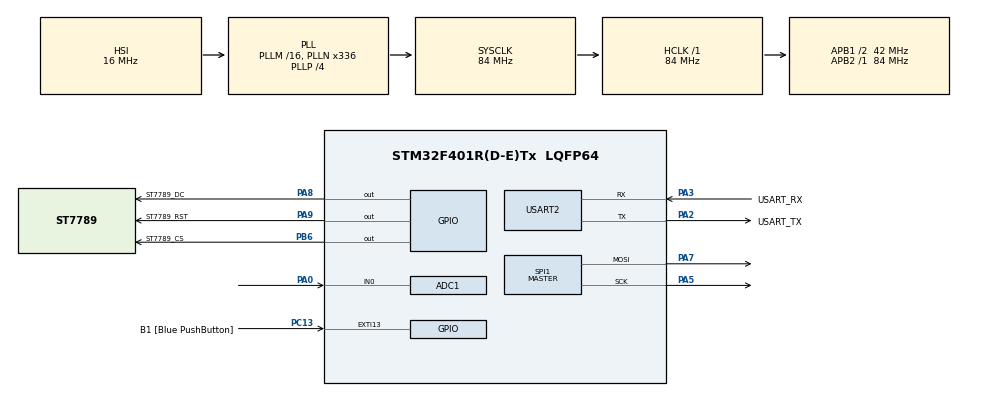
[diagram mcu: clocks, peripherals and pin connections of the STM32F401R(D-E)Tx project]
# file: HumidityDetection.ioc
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ADC1.Channel-2\#ChannelRegularConversion=ADC_CHANNEL_0
ADC1.ContinuousConvMode=ENABLE
ADC1.DMAContinuousRequests=ENABLE
ADC1.NbrOfConversion=1
ADC1.NbrOfConversionFlag=1
ADC1.Rank-2\#ChannelRegularConversion=1
ADC1.SamplingTime-2\#ChannelRegularConversion=ADC_SAMPLETIME_480CYCLES
ADC1.master=1
Dma.ADC1.0.Direction=DMA_PERIPH_TO_MEMORY
Dma.ADC1.0.FIFOMode=DMA_FIFOMODE_DISABLE
Dma.ADC1.0.Instance=DMA2_Stream0
Dma.ADC1.0.MemDataAlignment=DMA_MDATAALIGN_HALFWORD
Dma.ADC1.0.MemInc=DMA_MINC_ENABLE
Dma.ADC1.0.Mode=DMA_CIRCULAR
Dma.ADC1.0.PeriphDataAlignment=DMA_PDATAALIGN_HALFWORD
Dma.ADC1.0.PeriphInc=DMA_PINC_DISABLE
Dma.ADC1.0.Priority=DMA_PRIORITY_LOW
Dma.Request0=ADC1
Mcu.Family=STM32F4
Mcu.Name=STM32F401R(D-E)Tx
Mcu.Package=LQFP64
NVIC.DMA2_Stream0_IRQn=true\:0\:0\:false\:false\:true\:false\:true
NVIC.PriorityGroup=NVIC_PRIORITYGROUP_0
NVIC.TIM1_TRG_COM_TIM11_IRQn=true\:0\:0\:true\:false\:true\:true\:true
NVIC.USART2_IRQn=true\:0\:0\:false\:false\:true\:true\:true
PA0-WKUP.Signal=ADCx_IN0
PA13.GPIO_Label=TMS
PA13.Mode=Serial_Wire
PA13.Signal=SYS_JTMS-SWDIO
PA14.GPIO_Label=TCK
PA14.Mode=Serial_Wire
PA14.Signal=SYS_JTCK-SWCLK
PA2.GPIO_Label=USART_TX
PA2.GPIO_Mode=GPIO_MODE_AF_PP
PA2.GPIO_PuPd=GPIO_NOPULL
PA2.GPIO_Speed=GPIO_SPEED_FREQ_LOW
PA2.Mode=Asynchronous
PA2.Signal=USART2_TX
PA3.GPIO_Label=USART_RX
PA3.GPIO_Mode=GPIO_MODE_AF_PP
PA3.GPIO_PuPd=GPIO_NOPULL
PA3.GPIO_Speed=GPIO_SPEED_FREQ_LOW
PA3.Mode=Asynchronous
PA3.Signal=USART2_RX
PA5.Mode=TX_Only_Simplex_Unidirect_Master
PA5.Signal=SPI1_SCK
PA7.Mode=TX_Only_Simplex_Unidirect_Master
PA7.Signal=SPI1_MOSI
PA8.GPIO_Label=ST7789_DC
PA8.Signal=GPIO_Output
PA9.GPIO_Label=ST7789_RST
PA9.Signal=GPIO_Output
PB3.GPIO_Label=SWO
PB3.Signal=SYS_JTDO-SWO
PB6.GPIO_Label=ST7789_CS
PB6.Signal=GPIO_Output
PC13-ANTI_TAMP.GPIO_Label=B1 [Blue PushButton]
PC13-ANTI_TAMP.GPIO_ModeDefaultEXTI=GPIO_MODE_IT_FALLING
PC13-ANTI_TAMP.GPIO_PuPd=GPIO_NOPULL
PC13-ANTI_TAMP.Signal=GPXTI13
PC14-OSC32_IN.Mode=LSE-External-Oscillator
PC14-OSC32_IN.Signal=RCC_OSC32_IN
PC15-OSC32_OUT.Mode=LSE-External-Oscillator
PC15-OSC32_OUT.Signal=RCC_OSC32_OUT
PH0\ -\ OSC_IN.Mode=HSE-External-Clock-Source
PH0\ -\ OSC_IN.Signal=RCC_OSC_IN
PH1\ -\ OSC_OUT.Mode=HSE-External-Clock-Source
PH1\ -\ OSC_OUT.Signal=RCC_OSC_OUT
ProjectManager.HeapSize=0x200
ProjectManager.StackSize=0x400
ProjectManager.TargetToolchain=STM32CubeIDE
RCC.48MHZClocksFreq_Value=48000000
RCC.AHBFreq_Value=84000000
RCC.APB1CLKDivider=RCC_HCLK_DIV2
RCC.APB1Freq_Value=42000000
RCC.APB1TimFreq_Value=84000000
RCC.APB2Freq_Value=84000000
RCC.APB2TimFreq_Value=84000000
RCC.CortexFreq_Value=84000000
RCC.HCLKFreq_Value=84000000
RCC.HSE_VALUE=8000000
RCC.HSI_VALUE=16000000
RCC.PLLN=336
RCC.PLLP=RCC_PLLP_DIV4
RCC.PLLQ=7
RCC.SYSCLKFreq_VALUE=84000000
RCC.SYSCLKSource=RCC_SYSCLKSOURCE_PLLCLK
RCC.VCOOutputFreq_Value=336000000
SH.ADCx_IN0.0=ADC1_IN0,IN0
SPI1.Direction=SPI_DIRECTION_2LINES
SPI1.Mode=SPI_MODE_MASTER
SPI1.VirtualType=VM_MASTER
TIM11.AutoReloadPreload=TIM_AUTORELOAD_PRELOAD_ENABLE
TIM11.Period=9999
TIM11.Prescaler=8399
USART2.VirtualMode=VM_ASYNC
VP_TIM11_VS_ClockSourceINT.Mode=Enable_Timer
board=NUCLEO-F401RE

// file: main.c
/* USER CODE BEGIN Header */
/**
  ******************************************************************************
  * @file           : main.c
  * @brief          : Main program body
  ******************************************************************************
  * @attention
  *
  * <h2><center>&copy; Copyright (c) 2022 STMicroelectronics.
  * All rights reserved.</center></h2>
  *
  * This software component is licensed by ST under BSD 3-Clause license,
  * the "License"; You may not use this file except in compliance with the
  * License. You may obtain a copy of the License at:
  *                        opensource.org/licenses/BSD-3-Clause
  *
  ******************************************************************************
  */
/* USER CODE END Header */
#include "main.h"
#include "adc.h"
#include "dma.h"
#include "spi.h"
#include "tim.h"
#include "usart.h"
#include "gpio.h"

/* USER CODE BEGIN Includes */
#include <stdio.h>
#include <stdlib.h>
#include <string.h>
#include <stdarg.h>
#include <math.h>

#include "st7789.h"
/* USER CODE END Includes */

/* USER CODE BEGIN PV */

#define BUF_LEN 256

uint8_t RxBuf[BUF_LEN];
uint8_t TxBuf[BUF_LEN];

__IO int Rx_Empty=0;
__IO int Rx_Busy=0;

__IO int Tx_Empty=0;
__IO int Tx_Busy=0;

char tmp_buf[256];

uint8_t frameState = 0;			// 0 - czekamy na początek ramki
								// 1 - ramka jest przetwarzana

const char device_address[3] = "ST";
char source_address[3];
uint8_t frameLen = 0; 			// ilość odebranych znaków w ramce
int cmdLength; 					// długość komendy
int cmd_len_check = 0; 			// sprawdzanie, czy w komendzie nie ma zbędnych znaków
uint8_t checkSum[3];

uint16_t adc_buf[256];

int count = 0;
int average=0;

/* USER CODE END PV */

void SystemClock_Config(void);
/* USER CODE BEGIN PFP */
/*sprawdza czy wszytkie znaki w buforze zostali odczytane*/
uint8_t USART_kbhit(){
	if(Rx_Empty==Rx_Busy){
		return 0;
	}else{
		return 1;
	}
}//USART_kbhit
/*Funkcja pobierająca znak do bufora*/
uint8_t USART_getchar(){
uint8_t tmp;
	if(Rx_Empty!=Rx_Busy){
		tmp=RxBuf[Rx_Busy];
		Rx_Busy++;
		if(Rx_Busy >= BUF_LEN)Rx_Busy=0;
		return tmp;
	}else return 0;
}//USART_getchar

uint8_t USART_getline(char *buf){
static uint8_t bf[256];
static uint8_t idx=0;
int i;
uint8_t ret;
	while(USART_kbhit()){
		bf[idx]=USART_getchar();
		if(((bf[idx]==10)||(bf[idx]==13))){
			bf[idx]=0;
			for(i=0;i<=idx;i++){
				buf[i]=bf[i];
			}
			ret=idx;
			idx=0;
			return ret;
		}else{
			idx++;
			if(idx>=256)idx=0;
		}
	}
	return 0;
}//USART_getline

void Send(char* message, ...){
	char temp[64];

	volatile int idx = Tx_Empty;

	va_list arglist;
	va_start(arglist, message);
	vsprintf(temp, message, arglist);
	va_end(arglist);

	for(int i = 0; i < strlen(temp); i++){
		TxBuf[idx] = temp[i];
		idx++;
		if(idx >= BUF_LEN){
			idx = 0;
		}

	}
	__disable_irq();

	if(Tx_Empty == Tx_Busy){
		Tx_Empty = idx;
		uint8_t tmp = TxBuf[Tx_Busy];
		Tx_Busy++;
		if(Tx_Busy >= BUF_LEN){
			Tx_Busy = 0;
		}

		HAL_UART_Transmit_IT(&huart2, &tmp, 1);

		Tx_Empty = idx;
	}
	__enable_irq();
}
/*sprawdza jaka komenda została wysyłąna z PC*/
void ShLive(){
	if (count>=0){
		uint8_t msg[5];
		sprintf(msg, "%d ", average);
		msg[4]='\0';
		Send(msg);

		count--;
	}
	else{
		HAL_TIM_Base_Stop_IT(&htim11);
	}

}
void DoCmd(char* cmd)
{
	//int count = 0;
	//int adc_rn = 0;
	if (sscanf(cmd,"SHLIVE(%d)",&count)==1){

		//while(count>0){
			//show avg calc x times

			/*HAL_ADC_Start(&hadc1);
			HAL_ADC_PollForConversion(&hadc1, HAL_MAX_DELAY);
			adc_rn = HAL_ADC_GetValue(&hadc1);
			char msg[5];
			sprintf(msg, "%d", adc_rn);
			HAL_Delay(1000);//no delay
			Send(msg);*/

			//char msg[5];
			//sprintf(msg, "%d, ", average);
			//Send(msg);

			//count--;
			//HAL_Delay(500);
		//}
		ShLive();
		HAL_TIM_Base_Start_IT(&htim11);
	}
	else if (strcmp(cmd,"AVG")==0){
		//int average=0;
		/*for(int i = 255; i>=0; i-- ){
			average += adc_buf[i];
		}
		average /= 256;*/
		char msg[5];
		sprintf(msg, "%d", average);
		Send(msg);

	}
	else if(strcmp(cmd,"MDN")==0){
	    int temp=0;
	    char msg[5];
	    for(int i=0 ; i<256 ; i++)
	    {
	        for(int j=0 ; j<256-1 ; j++)
	        {
	            if(adc_buf[j]>adc_buf[j+1])
	            {
	                temp = adc_buf[j];
	                adc_buf[j] = adc_buf[j+1];
	                adc_buf[j+1] = temp;
	            }
	        }
	        int median=0;

			// if number of elements are even
			median = (adc_buf[(256-1)/2] + adc_buf[256/2])/2;

			sprintf(msg, "%d", median);
	    }
	    Send(msg);

	}
}

/* USER CODE END PFP */

int main(void)
{
  /* USER CODE BEGIN 1 */
  uint16_t timer_val;

  /* USER CODE END 1 */

  /* MCU Configuration--------------------------------------------------------*/

  /* Reset of all peripherals, Initializes the Flash interface and the Systick. */
  HAL_Init();

  /* Configure the system clock */
  SystemClock_Config();

  /* Initialize all configured peripherals */
  MX_GPIO_Init();
  MX_USART2_UART_Init();
  MX_DMA_Init();
  MX_ADC1_Init();
  MX_TIM11_Init();
  MX_SPI1_Init();
  /* USER CODE BEGIN 2 */
  HAL_ADC_Start_DMA(&hadc1, (uint32_t*)&adc_buf, 256);

  //HAL_TIM_Base_Start_IT(&htim11);
  /* USER CODE END 2 */
  ST7789_Init();

  ST7789_Fill_Color(GRAY);
  /* Infinite loop */
  /* USER CODE BEGIN WHILE */
  HAL_UART_Receive_IT(&huart2,&RxBuf[Rx_Empty],1);
  while (1)
  {
	  HAL_ADC_Start(&hadc1);
	  uint8_t singleFrameChar;
	  if(USART_kbhit()){
		  // rozpoczęcie poszukiwania ramki
		  if (frameState == 0)
		  {                                      // poszukiwanie początku ramki
			  singleFrameChar = USART_getchar(); // pobieranie pierwszego znaku

			  if (singleFrameChar == 35 /* # */)
			  { // jeżeli znaleziono znak początku ramki
				  frameState = 1;
				  frameLen = 0;
			  }
		  }
		  else if (frameState == 1)
		  {                                      // Jeżeli znak początku ramki został znaleziony
			  singleFrameChar = USART_getchar(); // pobieranie kolejnego znaku

			  tmp_buf[frameLen] = singleFrameChar; // kolekcjonowanie ramki
			  frameLen++;

			  //256 - maksymalna ilość danych
			  //6 - minimalna długość ramki
			  //1 - znak końca ramki (jest pobierany przy zczytywaniu ramki z bufora odbiorczego)
			  if (frameLen > (256 + 6 + 1))
			  {                   // jeżeli ilość znaków w ramce przekroczy dopuszczalny rozmiar ramki (266 znaków)
				  frameLen = 0;   // ramka jest resetowana
				  frameState = 0; // i następuje poszukiwanie nowej ramki
				  //return;
				  break;
			  }

			  if (singleFrameChar == 35 /* # */)
			  { // jeżeli znak początku się powtarza
				  if (frameLen > 0)
				  {
					  frameLen = 0; // ramka jest resetowana
				  }
			  }

			  if (singleFrameChar == 36 /* $ */)
			  { // kolekcjonowanie do końca ramki

				  if (frameLen - 1 > 6)
				  { // jeżeli podano więcej znaków, niż minimalna ilość znaków w ramce
					  char destination_address[3];
					  char data_length[3];

					  memcpy(source_address, &tmp_buf[0], 2);
					  memcpy(destination_address, &tmp_buf[2], 2);
					  memcpy(data_length, &tmp_buf[4], 2);

					  source_address[2] = '\0';
					  destination_address[2] = '\0';
					  data_length[2]='\0';

					  cmdLength = atoi(data_length);

					  if (strncmp(device_address, destination_address, 2) == 0)
					  {
						  if (cmdLength <= 256)//delete
						  {

							  if ((6 + cmdLength) == (frameLen - 1 - 2 /*forchksum*/))
							  {                            // jeżeli komenda została przysłana
								  char cmd[cmdLength + 1]; // komenda

								  memcpy(cmd, &tmp_buf[6], cmdLength);
								  memcpy(checkSum, &tmp_buf[6 + cmdLength], 2);
								  checkSum[2]='\0';

								  uint8_t hexSum = (int)strtol(checkSum, NULL, 16);//uint8
								  int result = 0, ctrl = 0;
								  for (int i = cmdLength - 1; i >= 0; i--)
								  {
									  result = cmd[i] ^ ctrl;
									  ctrl = result;
								  }
								  if ((result ^ hexSum) == 0)
								  {
									  cmd[cmdLength] = '\0'; // dodanie znaku null na końcu tablicy

									  DoCmd(cmd);
								  }else{/*some error about the wrong cvhecksum*/}
							  }else{/*wrong command lenght field*/}
						  }else{/*error frame data fiel too long*/}
					  }else{/*wrong destination addrs*/}
				  }else{/*wrong frame len less than 6*/}

				  frameState = 0;
				  frameLen = 0;
			  }
		  }
	  }

		int percentage = floor(average/40);

		char displayMsg[21];
		sprintf(displayMsg, "CURRENT AVERAGE: %02d%%", percentage);
		displayMsg[20]='\0';
		ST7789_WriteString(10, 10, displayMsg, Font_11x18, GBLUE, GRAY);
		if(percentage<=20){
			ST7789_WriteString(10, 75, "CONDITION:  BAD", Font_11x18, RED, GRAY);
		}
		else{
			ST7789_WriteString(10, 75, "CONDITION: GOOD", Font_11x18, GREEN, GRAY);
		}

    /* USER CODE END WHILE */

  }
}

void SystemClock_Config(void)
{
  RCC_OscInitTypeDef RCC_OscInitStruct = {0};
  RCC_ClkInitTypeDef RCC_ClkInitStruct = {0};

  /** Configure the main internal regulator output voltage
  */
  __HAL_RCC_PWR_CLK_ENABLE();
  __HAL_PWR_VOLTAGESCALING_CONFIG(PWR_REGULATOR_VOLTAGE_SCALE2);
  /** Initializes the RCC Oscillators according to the specified parameters
  * in the RCC_OscInitTypeDef structure.
  */
  RCC_OscInitStruct.OscillatorType = RCC_OSCILLATORTYPE_HSI;
  RCC_OscInitStruct.HSIState = RCC_HSI_ON;
  RCC_OscInitStruct.HSICalibrationValue = RCC_HSICALIBRATION_DEFAULT;
  RCC_OscInitStruct.PLL.PLLState = RCC_PLL_ON;
  RCC_OscInitStruct.PLL.PLLSource = RCC_PLLSOURCE_HSI;
  RCC_OscInitStruct.PLL.PLLM = 16;
  RCC_OscInitStruct.PLL.PLLN = 336;
  RCC_OscInitStruct.PLL.PLLP = RCC_PLLP_DIV4;
  RCC_OscInitStruct.PLL.PLLQ = 7;
  if (HAL_RCC_OscConfig(&RCC_OscInitStruct) != HAL_OK)
  {
    Error_Handler();
  }
  /** Initializes the CPU, AHB and APB buses clocks
  */
  RCC_ClkInitStruct.ClockType = RCC_CLOCKTYPE_HCLK|RCC_CLOCKTYPE_SYSCLK
                              |RCC_CLOCKTYPE_PCLK1|RCC_CLOCKTYPE_PCLK2;
  RCC_ClkInitStruct.SYSCLKSource = RCC_SYSCLKSOURCE_PLLCLK;
  RCC_ClkInitStruct.AHBCLKDivider = RCC_SYSCLK_DIV1;
  RCC_ClkInitStruct.APB1CLKDivider = RCC_HCLK_DIV2;
  RCC_ClkInitStruct.APB2CLKDivider = RCC_HCLK_DIV1;

  if (HAL_RCC_ClockConfig(&RCC_ClkInitStruct, FLASH_LATENCY_2) != HAL_OK)
  {
    Error_Handler();
  }
}

/* USER CODE BEGIN 4 */

void HAL_TIM_PeriodElapsedCallback(TIM_HandleTypeDef *htim){
	if(htim->Instance==TIM11){
		ShLive();
	}
}

void HAL_ADC_ConvCpltCallback(ADC_HandleTypeDef *hadc)
{
	//HAL_GPIO_TogglePin(LD2_GPIO_Port, LD2_Pin);
	//avg calculate
	for(int i = 255; i>=0; i-- ){
		average += adc_buf[i];
	}
	average /= 256;

}

void HAL_UART_TxCpltCallback(UART_HandleTypeDef *huart){
	if(Tx_Busy != Tx_Empty){
		uint8_t temp = TxBuf[Tx_Busy];
		Tx_Busy++;
		if(Tx_Busy >= BUF_LEN)Tx_Busy = 0;
		HAL_UART_Transmit_IT(&huart2, &temp, 1);
	}
}

void HAL_UART_RxCpltCallback(UART_HandleTypeDef *huart){
	if (huart->Instance==USART2){
		Rx_Empty++;
		if(Rx_Empty>=BUF_LEN)Rx_Empty=0;
		HAL_UART_Receive_IT(&huart2,&RxBuf[Rx_Empty],1);
	}
}

/* USER CODE END 4 */

void Error_Handler(void)
{
  __disable_irq();
  while (1)
  {
  }
}

/************************ (C) COPYRIGHT STMicroelectronics *****END OF FILE****/
